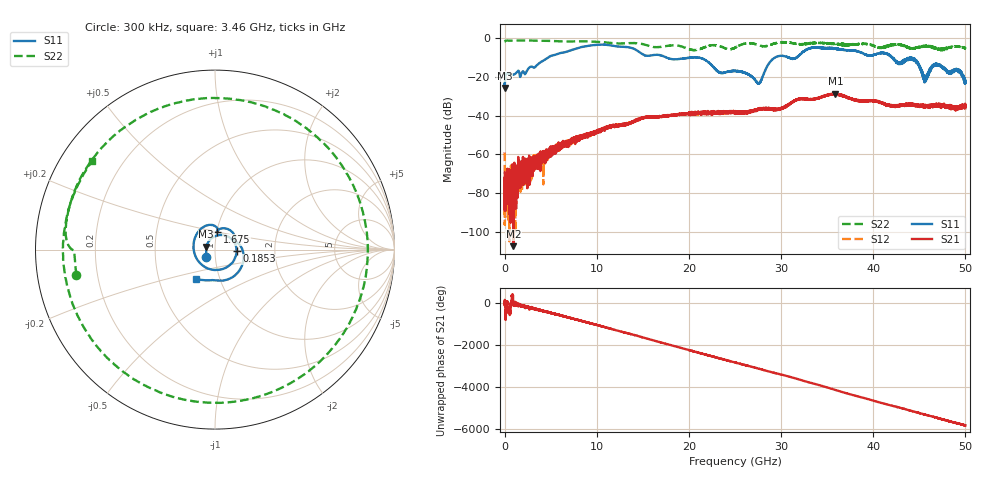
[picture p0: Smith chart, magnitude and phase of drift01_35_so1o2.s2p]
!Created with skrf (http://scikit-rf.org).
# Hz S RI R 50.0
!freq ReS11 ImS11 ReS21 ImS21 ReS12 ImS12 ReS22 ImS22
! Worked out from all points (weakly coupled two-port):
!   10001 points, 300 kHz to 50 GHz, reference 50 ohm
!   highest |S21| = -28.76 dB at 35.9 GHz (marker M1); lowest = -107.2 dB at 955.3 MHz (marker M2)
!   lowest |S11| = -25.8 dB at 5.3 MHz (marker M3), VSWR 1.11, Z = 45.3 + j1.41 ohm
!   |S11| at or under -10 dB: start of sweep to 4.764 GHz; 17.5 GHz to 29.4 GHz (11.9 GHz wide, 50.7 % of centre); 42.08 GHz to end of sweep (the widest 3 of 11)
!   |S22| runs from -6.4 to -1.4 dB; largest |S21 - S12| = 0.0035
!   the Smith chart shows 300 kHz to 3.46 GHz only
!   S11 on the Smith chart (normalised r, x): 300 kHz: 0.90, -0.08; 185.3 MHz: 1.27, -0.02; 1.675 GHz: 1.01, +0.20; 3.46 GHz: 0.77, -0.26
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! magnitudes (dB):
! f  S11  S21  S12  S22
! 300 kHz  -23.7  -73.3  -59.0  -2.1
! 5.3 MHz  -25.8  -71.8  -78.0  -2.1
! 185.3 MHz  -18.4  -79.8  -78.9  -1.4
! 955.3 MHz  -18.9  -107.2  -87.3  -1.5
! 1.675 GHz  -20.1  -68.4  -69.3  -1.4
! 3.46 GHz  -14.3  -64.4  -66.1  -1.5
! 8.335 GHz  -4.8  -50.9  -50.7  -1.8
! 16.67 GHz  -8.7  -40.6  -40.8  -4.8
! 21.17 GHz  -10.3  -38.7  -38.6  -5.8
! 23.36 GHz  -17.9  -38.5  -38.5  -4.4
! 25 GHz  -17.0  -38.1  -38.1  -5.1
! 27.59 GHz  -23.5  -36.8  -36.9  -3.8
! 29.28 GHz  -10.3  -36.8  -36.8  -2.9
! 31.45 GHz  -10.8  -32.5  -32.4  -2.9
! 33.34 GHz  -5.1  -31.6  -31.5  -2.7
! 35.9 GHz  -5.5  -28.8  -29.0  -2.9
! 41.67 GHz  -8.8  -34.6  -34.9  -4.2
! 42.74 GHz  -13.1  -34.9  -34.7  -3.4
! 44.49 GHz  -11.4  -34.8  -35.0  -5.4
! 45.63 GHz  -20.8  -35.1  -35.0  -4.2
! 46.96 GHz  -13.6  -34.6  -35.3  -5.7
! 50 GHz  -22.1  -36.2  -34.5  -5.4
